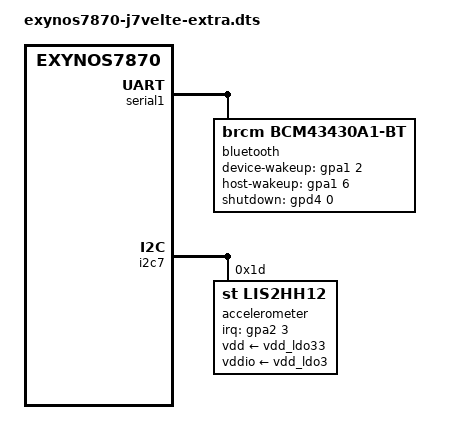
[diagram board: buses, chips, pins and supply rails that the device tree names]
// SPDX-License-Identifier: GPL-2.0-only
/* Written by Claude 2026-10-09. CPU-frequency tree plus Bluetooth and the
 * accelerometer.
 *
 * Bluetooth: the BCM43438 combo chip's UART side. Live vendor node
 * "broadcom,bcm43xx" uses gpd4-0 (enable), gpa1-2 (device wake) and gpa1-6
 * (host wake): the same pins as the pinned tree's j6lte, whose serial1
 * bluetooth node is copied here without its pinctrl states. No BCM43430A1.hcd
 * patch file is available on the build host, so the controller runs its ROM
 * firmware.
 *
 * Accelerometer: live vendor node "k2hh-i2c" (ST K2HH = LIS2HH12) at 0x1d on
 * i2c@138d0000, interrupt gpa2-3, vio on LDO3. The mount matrix is translated
 * from the vendor axis_map/negate properties and is NOT verified against the
 * physical orientation.
 */
#include "exynos7870-j7velte-cpufreq.dts"

&serial1 {
    status = "okay";

    bluetooth {
        compatible = "brcm,bcm43430a1-bt";
        device-wakeup-gpios = <&gpa1 2 GPIO_ACTIVE_HIGH>;
        host-wakeup-gpios = <&gpa1 6 GPIO_ACTIVE_HIGH>;
        shutdown-gpios = <&gpd4 0 GPIO_ACTIVE_HIGH>;
        max-speed = <3000000>;
    };
};

&i2c7 {
    #address-cells = <1>;
    #size-cells = <0>;
    samsung,i2c-sda-delay = <100>;
    samsung,i2c-max-bus-freq = <400000>;
    status = "okay";

    accelerometer@1d {
        compatible = "st,lis2hh12";
        reg = <0x1d>;
        interrupt-parent = <&gpa2>;
        interrupts = <3 IRQ_TYPE_EDGE_RISING>;
        vdd-supply = <&vdd_ldo33>;
        vddio-supply = <&vdd_ldo3>;
        st,drdy-int-pin = <1>;
        /* Claude 2026-10-10: was "0","1","0", "-1","0","0", "0","0","-1" - a
         * mirror; the screen rotated the wrong way. This matrix is the one
         * the owner confirmed on the phone (first as a udev override,
         * system/accel-udev.rules). */
        mount-matrix = "0", "-1", "0",
                       "1", "0", "0",
                       "0", "0", "-1";
    };
};
